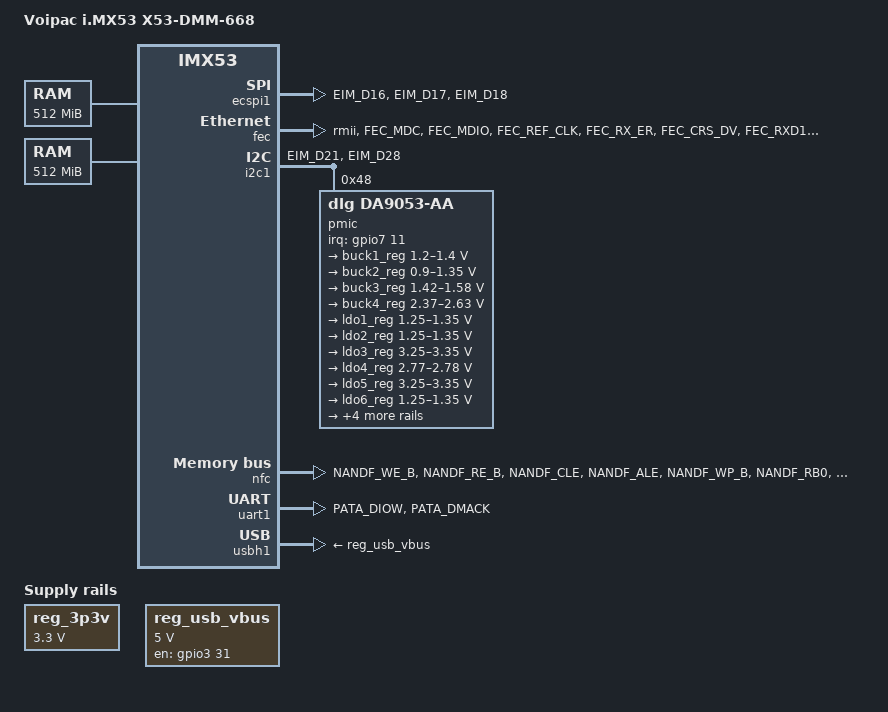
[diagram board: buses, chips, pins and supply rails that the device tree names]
/*
 * Copyright 2013 Rostislav Lisovy <lisovy@gmail.com>, PiKRON s.r.o.
 *
 * The code contained herein is licensed under the GNU General Public
 * License. You may obtain a copy of the GNU General Public License
 * Version 2 or later at the following locations:
 *
 * http://www.opensource.org/licenses/gpl-license.html
 * http://www.gnu.org/copyleft/gpl.html
 */

#include "imx53.dtsi"

/ {
	model = "Voipac i.MX53 X53-DMM-668";
	compatible = "voipac,imx53-dmm-668", "fsl,imx53";

	memory@70000000 {
		device_type = "memory";
		reg = <0x70000000 0x20000000>;
	};

	memory@b0000000 {
		device_type = "memory";
		reg = <0xb0000000 0x20000000>;
	};

	regulators {
		compatible = "simple-bus";
		#address-cells = <1>;
		#size-cells = <0>;

		reg_3p3v: regulator@0 {
			compatible = "regulator-fixed";
			reg = <0>;
			regulator-name = "3P3V";
			regulator-min-microvolt = <3300000>;
			regulator-max-microvolt = <3300000>;
			regulator-always-on;
		};

		reg_usb_vbus: regulator@1 {
			compatible = "regulator-fixed";
			reg = <1>;
			regulator-name = "usb_vbus";
			regulator-min-microvolt = <5000000>;
			regulator-max-microvolt = <5000000>;
			gpio = <&gpio3 31 0>; /* PEN */
			enable-active-high;
		};
	};
};

&iomuxc {
	pinctrl-names = "default";
	pinctrl-0 = <&pinctrl_hog>;

	imx53-voipac {
		pinctrl_hog: hoggrp {
			fsl,pins = <
				/* Make DA9053 regulator functional */
				MX53_PAD_GPIO_16__GPIO7_11	0x80000000
				/* FEC Power enable */
				MX53_PAD_GPIO_11__GPIO4_1	0x80000000
				/* FEC RST */
				MX53_PAD_GPIO_12__GPIO4_2	0x80000000
			>;
		};

		pinctrl_ecspi1: ecspi1grp {
			fsl,pins = <
				MX53_PAD_EIM_D16__ECSPI1_SCLK		0x80000000
				MX53_PAD_EIM_D17__ECSPI1_MISO		0x80000000
				MX53_PAD_EIM_D18__ECSPI1_MOSI		0x80000000
			>;
		};

		pinctrl_fec: fecgrp {
			fsl,pins = <
				MX53_PAD_FEC_MDC__FEC_MDC		0x80000000
				MX53_PAD_FEC_MDIO__FEC_MDIO		0x80000000
				MX53_PAD_FEC_REF_CLK__FEC_TX_CLK	0x80000000
				MX53_PAD_FEC_RX_ER__FEC_RX_ER		0x80000000
				MX53_PAD_FEC_CRS_DV__FEC_RX_DV		0x80000000
				MX53_PAD_FEC_RXD1__FEC_RDATA_1		0x80000000
				MX53_PAD_FEC_RXD0__FEC_RDATA_0		0x80000000
				MX53_PAD_FEC_TX_EN__FEC_TX_EN		0x80000000
				MX53_PAD_FEC_TXD1__FEC_TDATA_1		0x80000000
				MX53_PAD_FEC_TXD0__FEC_TDATA_0		0x80000000
			>;
		};

		pinctrl_i2c1: i2c1grp {
			fsl,pins = <
				MX53_PAD_EIM_D21__I2C1_SCL		0xc0000000
				MX53_PAD_EIM_D28__I2C1_SDA		0xc0000000
			>;
		};

		pinctrl_uart1: uart1grp {
			fsl,pins = <
				MX53_PAD_PATA_DIOW__UART1_TXD_MUX	0x1e4
				MX53_PAD_PATA_DMACK__UART1_RXD_MUX	0x1e4
			>;
		};

		pinctrl_nand: nandgrp {
			fsl,pins = <
				MX53_PAD_NANDF_WE_B__EMI_NANDF_WE_B	0x4
				MX53_PAD_NANDF_RE_B__EMI_NANDF_RE_B	0x4
				MX53_PAD_NANDF_CLE__EMI_NANDF_CLE	0x4
				MX53_PAD_NANDF_ALE__EMI_NANDF_ALE	0x4
				MX53_PAD_NANDF_WP_B__EMI_NANDF_WP_B	0xe0
				MX53_PAD_NANDF_RB0__EMI_NANDF_RB_0	0xe0
				MX53_PAD_NANDF_CS0__EMI_NANDF_CS_0	0x4
				MX53_PAD_PATA_DATA0__EMI_NANDF_D_0	0xa4
				MX53_PAD_PATA_DATA1__EMI_NANDF_D_1	0xa4
				MX53_PAD_PATA_DATA2__EMI_NANDF_D_2	0xa4
				MX53_PAD_PATA_DATA3__EMI_NANDF_D_3	0xa4
				MX53_PAD_PATA_DATA4__EMI_NANDF_D_4	0xa4
				MX53_PAD_PATA_DATA5__EMI_NANDF_D_5	0xa4
				MX53_PAD_PATA_DATA6__EMI_NANDF_D_6	0xa4
				MX53_PAD_PATA_DATA7__EMI_NANDF_D_7	0xa4
			>;
		};
	};
};

&ecspi1 {
	pinctrl-names = "default";
	pinctrl-0 = <&pinctrl_ecspi1>;
	cs-gpios = <&gpio2 30 0>, <&gpio3 19 0>, <&gpio2 16 0>, <&gpio2 17 0>;
	status = "okay";
};

&fec {
	pinctrl-names = "default";
	pinctrl-0 = <&pinctrl_fec>;
	phy-mode = "rmii";
	phy-reset-gpios = <&gpio4 2 0>;
	status = "okay";
};

&i2c1 {
	pinctrl-names = "default";
	pinctrl-0 = <&pinctrl_i2c1>;
	status = "okay";

	pmic: dialog@48 {
		compatible = "dlg,da9053-aa", "dlg,da9052";
		reg = <0x48>;
		interrupt-parent = <&gpio7>;
		interrupts = <11 0x8>; /* low-level active IRQ at GPIO7_11 */

		regulators {
			buck1_reg: buck1 {
				regulator-name = "BUCKCORE";
				regulator-min-microvolt = <1200000>;
				regulator-max-microvolt = <1400000>;
				regulator-always-on;
			};

			buck2_reg: buck2 {
				regulator-name = "BUCKPRO";
				regulator-min-microvolt = <900000>;
				regulator-max-microvolt = <1350000>;
				regulator-always-on;
			};

			buck3_reg: buck3 {
				regulator-name = "BUCKMEM";
				regulator-min-microvolt = <1420000>;
				regulator-max-microvolt = <1580000>;
				regulator-always-on;
			};

			buck4_reg: buck4 {
				regulator-name = "BUCKPERI";
				regulator-min-microvolt = <2370000>;
				regulator-max-microvolt = <2630000>;
				regulator-always-on;
			};

			ldo1_reg: ldo1 {
				regulator-name = "ldo1_1v3";
				regulator-min-microvolt = <1250000>;
				regulator-max-microvolt = <1350000>;
				regulator-boot-on;
				regulator-always-on;
			};

			ldo2_reg: ldo2 {
				regulator-name = "ldo2_1v3";
				regulator-min-microvolt = <1250000>;
				regulator-max-microvolt = <1350000>;
				regulator-always-on;
			};

			ldo3_reg: ldo3 {
				regulator-name = "ldo3_3v3";
				regulator-min-microvolt = <3250000>;
				regulator-max-microvolt = <3350000>;
				regulator-always-on;
			};

			ldo4_reg: ldo4 {
				regulator-name = "ldo4_2v775";
				regulator-min-microvolt = <2770000>;
				regulator-max-microvolt = <2780000>;
				regulator-always-on;
			};

			ldo5_reg: ldo5 {
				regulator-name = "ldo5_3v3";
				regulator-min-microvolt = <3250000>;
				regulator-max-microvolt = <3350000>;
				regulator-always-on;
			};

			ldo6_reg: ldo6 {
				regulator-name = "ldo6_1v3";
				regulator-min-microvolt = <1250000>;
				regulator-max-microvolt = <1350000>;
				regulator-always-on;
			};

			ldo7_reg: ldo7 {
				regulator-name = "ldo7_2v75";
				regulator-min-microvolt = <2700000>;
				regulator-max-microvolt = <2800000>;
				regulator-always-on;
			};

			ldo8_reg: ldo8 {
				regulator-name = "ldo8_1v8";
				regulator-min-microvolt = <1750000>;
				regulator-max-microvolt = <1850000>;
				regulator-always-on;
			};

			ldo9_reg: ldo9 {
				regulator-name = "ldo9_1v5";
				regulator-min-microvolt = <1450000>;
				regulator-max-microvolt = <1550000>;
				regulator-always-on;
			};

			ldo10_reg: ldo10 {
				regulator-name = "ldo10_1v3";
				regulator-min-microvolt = <1250000>;
				regulator-max-microvolt = <1350000>;
				regulator-always-on;
			};
		};
	};
};

&nfc {
	pinctrl-names = "default";
	pinctrl-0 = <&pinctrl_nand>;
	nand-bus-width = <8>;
	nand-ecc-mode = "hw";
	status = "okay";
};

&uart1 {
	pinctrl-names = "default";
	pinctrl-0 = <&pinctrl_uart1>;
	status = "okay";
};

&usbh1 {
	vbus-supply = <&reg_usb_vbus>;
	phy_type = "utmi";
	status = "okay";
};
